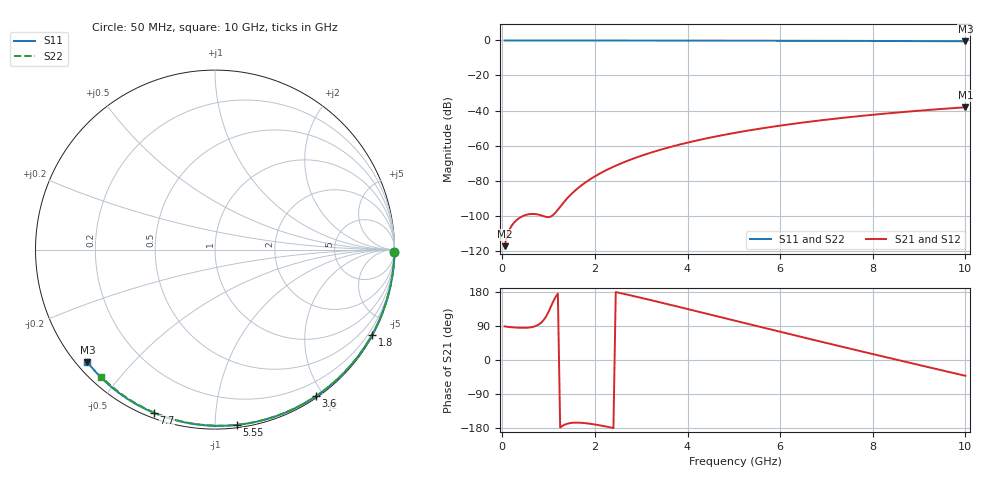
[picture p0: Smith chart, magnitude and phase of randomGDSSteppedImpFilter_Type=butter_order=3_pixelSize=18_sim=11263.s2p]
! freq	dB(S11)	phase(S11)	dB(S12)	phase(S12)
!  dB(S21)	phase(S21)	dB(S22)	phase(S22)
!S-par simulation data
#  GHz  S  DB  R 50
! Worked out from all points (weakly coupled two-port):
!   200 points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, 50 MHz to 10 GHz, reference 50 ohm
!   highest |S21| = -38.14 dB at 10 GHz (marker M1); lowest = -117.5 dB at 50 MHz (marker M2)
!   lowest |S11| = -0.5 dB at 10 GHz (marker M3), VSWR 36.99, Z = 1.54 - j18.9 ohm
!   |S11| at or under -10 dB: nowhere
!   |S22| runs from -0.4 to 0.0 dB; largest |S21 - S12| = 0
!   S11 on the Smith chart (normalised r, x): 50 MHz: open; 1.8 GHz: 0.03, -3.95; 3.6 GHz: 0.02, -1.90; 5.55 GHz: 0.02, -1.13; 7.7 GHz: 0.02, -0.69; 10 GHz: 0.03, -0.38
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0.05  -0.00 -0.8  -117.46 88.7  -117.46 88.7  -0.00 -0.8
0.45  -0.01 -7.2  -100.20 84.8  -100.20 84.8  -0.01 -6.9
0.9  -0.02 -14.4  -100.40 106.5  -100.40 106.5  -0.02 -13.6
1.75  -0.04 -27.7  -81.92 -166.2  -81.92 -166.2  -0.03 -26.3
1.8  -0.04 -28.4  -80.97 -166.8  -80.97 -166.8  -0.03 -27.0
1.85  -0.04 -29.2  -80.07 -167.5  -80.07 -167.5  -0.04 -27.7
2.15  -0.04 -33.8  -75.35 -173.4  -75.35 -173.4  -0.04 -32.1
2.35  -0.05 -36.9  -72.71 -178.2  -72.71 -178.2  -0.04 -35.0
2.55  -0.05 -39.9  -70.36 176.6  -70.36 176.6  -0.05 -37.9
2.95  -0.06 -45.9  -66.31 165.5  -66.31 165.5  -0.06 -43.7
3.4  -0.07 -52.6  -62.52 152.4  -62.52 152.4  -0.07 -50.0
3.6  -0.07 -55.5  -61.03 146.5  -61.03 146.5  -0.07 -52.8
3.9  -0.08 -59.9  -58.98 137.6  -58.98 137.6  -0.08 -56.9
4.3  -0.09 -65.6  -56.53 125.6  -56.53 125.6  -0.09 -62.4
5.05  -0.12 -76.1  -52.63 103.0  -52.63 103.0  -0.11 -72.4
5.55  -0.14 -82.9  -50.41 88.0  -50.41 88.0  -0.13 -78.9
6.1  -0.16 -90.2  -48.25 71.5  -48.25 71.5  -0.15 -85.8
6.7  -0.19 -98.0  -46.17 53.7  -46.17 53.7  -0.18 -93.3
7.7  -0.25 -110.6  -43.22 24.4  -43.22 24.4  -0.24 -105.3
8.35  -0.30 -118.6  -41.57 5.5  -41.57 5.5  -0.29 -112.9
9.2  -0.38 -129.0  -39.68 -18.9  -39.68 -18.9  -0.36 -122.7
10  -0.47 -138.6  -38.14 -41.7  -38.14 -41.7  -0.45 -131.8
